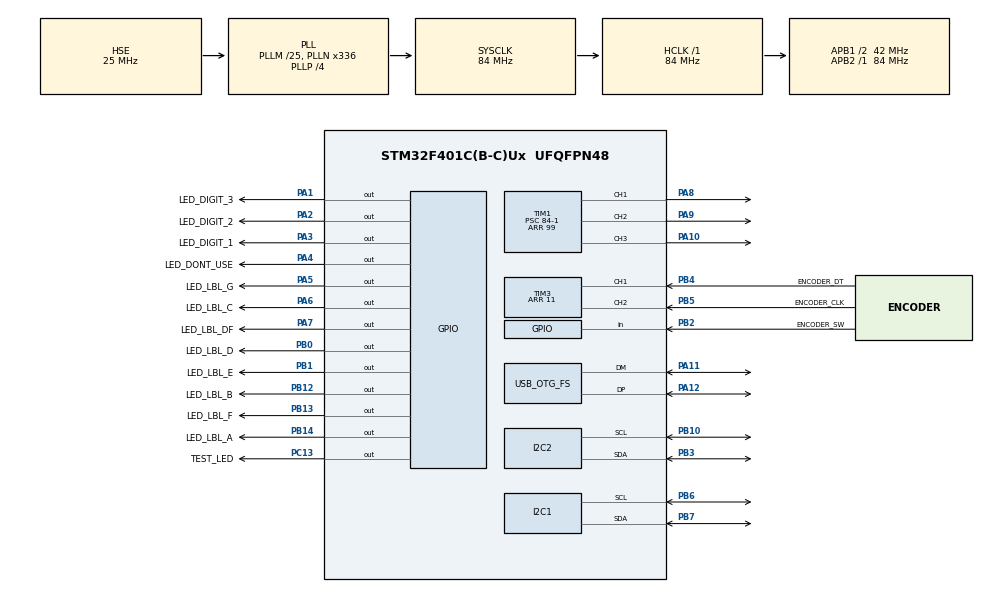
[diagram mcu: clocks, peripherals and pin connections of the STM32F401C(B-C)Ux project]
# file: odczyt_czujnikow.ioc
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I2C2.I2C_Mode=I2C_Fast
Mcu.Family=STM32F4
Mcu.Name=STM32F401C(B-C)Ux
Mcu.Package=UFQFPN48
NVIC.OTG_FS_IRQn=true\:0\:0\:false\:false\:true\:false\:true\:true
NVIC.PriorityGroup=NVIC_PRIORITYGROUP_4
PA1.GPIO_Label=LED_DIGIT_3
PA1.GPIO_PuPd=GPIO_PULLDOWN
PA1.GPIO_Speed=GPIO_SPEED_FREQ_VERY_HIGH
PA1.Signal=GPIO_Output
PA10.Signal=S_TIM1_CH3
PA11.Mode=Device_Only
PA11.Signal=USB_OTG_FS_DM
PA12.Mode=Device_Only
PA12.Signal=USB_OTG_FS_DP
PA13.Signal=SYS_JTMS-SWDIO
PA14.Signal=SYS_JTCK-SWCLK
PA2.GPIO_Label=LED_DIGIT_2
PA2.GPIO_PuPd=GPIO_PULLDOWN
PA2.GPIO_Speed=GPIO_SPEED_FREQ_VERY_HIGH
PA2.Signal=GPIO_Output
PA3.GPIO_Label=LED_DIGIT_1
PA3.GPIO_PuPd=GPIO_PULLDOWN
PA3.GPIO_Speed=GPIO_SPEED_FREQ_VERY_HIGH
PA3.Signal=GPIO_Output
PA4.GPIO_Label=LED_DONT_USE
PA4.Signal=GPIO_Output
PA5.GPIO_Label=LED_LBL_G
PA5.GPIO_Speed=GPIO_SPEED_FREQ_VERY_HIGH
PA5.Signal=GPIO_Output
PA6.GPIO_Label=LED_LBL_C
PA6.GPIO_Speed=GPIO_SPEED_FREQ_VERY_HIGH
PA6.Signal=GPIO_Output
PA7.GPIO_Label=LED_LBL_DF
PA7.GPIO_Speed=GPIO_SPEED_FREQ_VERY_HIGH
PA7.Signal=GPIO_Output
PA8.Signal=S_TIM1_CH1
PA9.Signal=S_TIM1_CH2
PB0.GPIO_Label=LED_LBL_D
PB0.GPIO_Speed=GPIO_SPEED_FREQ_VERY_HIGH
PB0.Signal=GPIO_Output
PB1.GPIO_Label=LED_LBL_E
PB1.GPIO_Speed=GPIO_SPEED_FREQ_VERY_HIGH
PB1.Signal=GPIO_Output
PB10.Mode=I2C
PB10.Signal=I2C2_SCL
PB12.GPIO_Label=LED_LBL_B
PB12.GPIO_Speed=GPIO_SPEED_FREQ_VERY_HIGH
PB12.Signal=GPIO_Output
PB13.GPIO_Label=LED_LBL_F
PB13.GPIO_Speed=GPIO_SPEED_FREQ_VERY_HIGH
PB13.Signal=GPIO_Output
PB14.GPIO_Label=LED_LBL_A
PB14.GPIO_Speed=GPIO_SPEED_FREQ_VERY_HIGH
PB14.Signal=GPIO_Output
PB2.GPIO_Label=ENCODER_SW
PB2.Signal=GPIO_Input
PB3.Mode=I2C
PB3.Signal=I2C2_SDA
PB4.GPIO_Label=ENCODER_DT
PB4.GPIO_ModeDefaultPP=GPIO_MODE_AF_PP
PB4.Signal=S_TIM3_CH1
PB5.GPIO_Label=ENCODER_CLK
PB5.Signal=S_TIM3_CH2
PB6.Mode=I2C
PB6.Signal=I2C1_SCL
PB7.Mode=I2C
PB7.Signal=I2C1_SDA
PC13-ANTI_TAMP.GPIO_Label=TEST_LED
PC13-ANTI_TAMP.Signal=GPIO_Output
PC14-OSC32_IN.Mode=LSE-External-Oscillator
PC14-OSC32_IN.Signal=RCC_OSC32_IN
PC15-OSC32_OUT.Mode=LSE-External-Oscillator
PC15-OSC32_OUT.Signal=RCC_OSC32_OUT
PH0\ -\ OSC_IN.Mode=HSE-External-Oscillator
PH0\ -\ OSC_IN.Signal=RCC_OSC_IN
PH1\ -\ OSC_OUT.Mode=HSE-External-Oscillator
PH1\ -\ OSC_OUT.Signal=RCC_OSC_OUT
ProjectManager.HeapSize=0x200
ProjectManager.StackSize=0x400
ProjectManager.TargetToolchain=STM32CubeIDE
RCC.48MHZClocksFreq_Value=48000000
RCC.AHBFreq_Value=84000000
RCC.APB1CLKDivider=RCC_HCLK_DIV2
RCC.APB1Freq_Value=42000000
RCC.APB1TimFreq_Value=84000000
RCC.APB2Freq_Value=84000000
RCC.APB2TimFreq_Value=84000000
RCC.CortexFreq_Value=84000000
RCC.HCLKFreq_Value=84000000
RCC.HSE_VALUE=25000000
RCC.HSI_VALUE=16000000
RCC.PLLM=25
RCC.PLLN=336
RCC.PLLP=RCC_PLLP_DIV4
RCC.PLLQ=7
RCC.RCC_RTC_Clock_SourceVirtual=RCC_RTCCLKSOURCE_LSE
RCC.SYSCLKFreq_VALUE=84000000
RCC.SYSCLKSource=RCC_SYSCLKSOURCE_PLLCLK
RCC.VCOOutputFreq_Value=336000000
SH.S_TIM1_CH1.0=TIM1_CH1,PWM Generation1 CH1
SH.S_TIM1_CH2.0=TIM1_CH2,PWM Generation2 CH2
SH.S_TIM1_CH3.0=TIM1_CH3,PWM Generation3 CH3
SH.S_TIM3_CH1.0=TIM3_CH1,Encoder_Interface
SH.S_TIM3_CH2.0=TIM3_CH2,Encoder_Interface
TIM1.Channel-PWM\ Generation1\ CH1=TIM_CHANNEL_1
TIM1.Channel-PWM\ Generation2\ CH2=TIM_CHANNEL_2
TIM1.Channel-PWM\ Generation3\ CH3=TIM_CHANNEL_3
TIM1.Period=99
TIM1.Prescaler=84-1
TIM3.EncoderMode=TIM_ENCODERMODE_TI12
TIM3.IC1Filter=14
TIM3.IC1Polarity=TIM_ICPOLARITY_RISING
TIM3.IC2Filter=14
TIM3.IC2Polarity=TIM_ICPOLARITY_RISING
TIM3.Period=11
USB_DEVICE.CLASS_NAME_FS=CDC
USB_DEVICE.VirtualMode=Cdc
USB_DEVICE.VirtualModeFS=Cdc_FS
USB_OTG_FS.VirtualMode=Device_Only
VP_RTC_VS_RTC_Activate.Mode=RTC_Enabled
VP_TIM1_VS_ClockSourceINT.Mode=Internal
VP_USB_DEVICE_VS_USB_DEVICE_CDC_FS.Mode=CDC_FS
board=custom

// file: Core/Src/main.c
/* USER CODE BEGIN Header */
/**
  ******************************************************************************
  * @file           : main.c
  * @brief          : Main program body
  ******************************************************************************
  * @attention
  *
  * Copyright (c) 2025 STMicroelectronics.
  * All rights reserved.
  *
  * This software is licensed under terms that can be found in the LICENSE file
  * in the root directory of this software component.
  * If no LICENSE file comes with this software, it is provided AS-IS.
  *
  ******************************************************************************
  */
/* USER CODE END Header */
#include "main.h"
#include "i2c.h"
#include "rtc.h"
#include "tim.h"
#include "usb_device.h"
#include "gpio.h"

/* USER CODE BEGIN Includes */
#include "usbd_cdc_if.h"

#include "mpu6050.h"
#include "digit_display.h"
/* USER CODE END Includes */

/* USER CODE BEGIN PD */
#define USB_BLOCK_SIZE 0x200	//512 bytes

/* USER CODE END PD */

/* USER CODE BEGIN PV */
MPU6050_t MPU6050;

volatile int32_t encoderCount = 0; //

/* USER CODE END PV */

void SystemClock_Config(void);

/* USER CODE BEGIN 0 */

// _write override for the printf funct
int _write(int file, char *ptr, int len) {
    CDC_Transmit_FS((uint8_t*) ptr, len);
    return len;
}

/* USER CODE END 0 */

int main(void)
{

  /* USER CODE BEGIN 1 */
	printf("HELLO WORLD!");

  /* USER CODE END 1 */

  /* MCU Configuration--------------------------------------------------------*/

  /* Reset of all peripherals, Initializes the Flash interface and the Systick. */
  HAL_Init();

  /* Configure the system clock */
  SystemClock_Config();

  /* Initialize all configured peripherals */
  MX_GPIO_Init();
  MX_I2C1_Init();
  MX_I2C2_Init();
  MX_RTC_Init();
  MX_TIM1_Init();
  MX_USB_DEVICE_Init();
  MX_TIM3_Init();
  /* USER CODE BEGIN 2 */

  while (MPU6050_Init(&hi2c2) == 1) {
	  printf("MPU Initialization\r\n");
	  print_digits(000);
	  HAL_Delay(10);
  }

  HAL_TIM_Encoder_Start(&htim3, TIM_CHANNEL_ALL);

  HAL_TIM_PWM_Start(&htim1, TIM_CHANNEL_1);
  HAL_TIM_PWM_Start(&htim1, TIM_CHANNEL_2);
  HAL_TIM_PWM_Start(&htim1, TIM_CHANNEL_3);

  uint8_t pwm_max = htim1.Instance->ARR;

  __HAL_TIM_SET_COMPARE(&htim1, TIM_CHANNEL_1, 0);
  __HAL_TIM_SET_COMPARE(&htim1, TIM_CHANNEL_2, 0);
  __HAL_TIM_SET_COMPARE(&htim1, TIM_CHANNEL_3, 0);
  /* USER CODE END 2 */

  /* Infinite loop */
  /* USER CODE BEGIN WHILE */

  uint8_t mode = 0;
  int16_t val_to_print = 0;
  while (1)
  {
    /* USER CODE END WHILE */

    /* USER CODE BEGIN 3 */

	  encoderCount = __HAL_TIM_GET_COUNTER(&htim3);
	  mode = encoderCount / 4;

	  MPU6050_Read_All(&hi2c2, &MPU6050);

	  switch (mode) {
	  case 0:
		  __HAL_TIM_SET_COMPARE(&htim1, TIM_CHANNEL_1, pwm_max);
		  __HAL_TIM_SET_COMPARE(&htim1, TIM_CHANNEL_2, 0);
		  __HAL_TIM_SET_COMPARE(&htim1, TIM_CHANNEL_3, 0);

		  val_to_print = (int16_t) MPU6050.KalmanAngleX;
		  break;
	  case 1:
		  __HAL_TIM_SET_COMPARE(&htim1, TIM_CHANNEL_1, 0);
		  __HAL_TIM_SET_COMPARE(&htim1, TIM_CHANNEL_2, pwm_max);
		  __HAL_TIM_SET_COMPARE(&htim1, TIM_CHANNEL_3, 0);
		  val_to_print = (int16_t) MPU6050.KalmanAngleY;
		  break;
	  case 2:
		  __HAL_TIM_SET_COMPARE(&htim1, TIM_CHANNEL_1, 0);
		  __HAL_TIM_SET_COMPARE(&htim1, TIM_CHANNEL_2, 0);
		  __HAL_TIM_SET_COMPARE(&htim1, TIM_CHANNEL_3, pwm_max);

		  val_to_print = (int16_t) MPU6050.Temperature;
		  break;

	  default:
		  __HAL_TIM_SET_COMPARE(&htim1, TIM_CHANNEL_1, 0);
		  __HAL_TIM_SET_COMPARE(&htim1, TIM_CHANNEL_2, 0);
		  __HAL_TIM_SET_COMPARE(&htim1, TIM_CHANNEL_3, 0);
		  break;
	  }

	  print_digits(val_to_print);

	  printf("ax:%f\t ay:%f\t az:%f\t gx:%f\t gy:%f\t gz:%f\t kx:%f\t ky:%f\t t:%f\t  \r\n", MPU6050.Ax,MPU6050.Ay,MPU6050.Az,MPU6050.Gx,MPU6050.Gy,MPU6050.Gz,MPU6050.KalmanAngleX,MPU6050.KalmanAngleY,MPU6050.Temperature);

	  HAL_Delay(10);
  }
  /* USER CODE END 3 */
}

void SystemClock_Config(void)
{
  RCC_OscInitTypeDef RCC_OscInitStruct = {0};
  RCC_ClkInitTypeDef RCC_ClkInitStruct = {0};

  /** Configure the main internal regulator output voltage
  */
  __HAL_RCC_PWR_CLK_ENABLE();
  __HAL_PWR_VOLTAGESCALING_CONFIG(PWR_REGULATOR_VOLTAGE_SCALE2);

  /** Initializes the RCC Oscillators according to the specified parameters
  * in the RCC_OscInitTypeDef structure.
  */
  RCC_OscInitStruct.OscillatorType = RCC_OSCILLATORTYPE_HSE|RCC_OSCILLATORTYPE_LSE;
  RCC_OscInitStruct.HSEState = RCC_HSE_ON;
  RCC_OscInitStruct.LSEState = RCC_LSE_ON;
  RCC_OscInitStruct.PLL.PLLState = RCC_PLL_ON;
  RCC_OscInitStruct.PLL.PLLSource = RCC_PLLSOURCE_HSE;
  RCC_OscInitStruct.PLL.PLLM = 25;
  RCC_OscInitStruct.PLL.PLLN = 336;
  RCC_OscInitStruct.PLL.PLLP = RCC_PLLP_DIV4;
  RCC_OscInitStruct.PLL.PLLQ = 7;
  if (HAL_RCC_OscConfig(&RCC_OscInitStruct) != HAL_OK)
  {
    Error_Handler();
  }

  /** Initializes the CPU, AHB and APB buses clocks
  */
  RCC_ClkInitStruct.ClockType = RCC_CLOCKTYPE_HCLK|RCC_CLOCKTYPE_SYSCLK
                              |RCC_CLOCKTYPE_PCLK1|RCC_CLOCKTYPE_PCLK2;
  RCC_ClkInitStruct.SYSCLKSource = RCC_SYSCLKSOURCE_PLLCLK;
  RCC_ClkInitStruct.AHBCLKDivider = RCC_SYSCLK_DIV1;
  RCC_ClkInitStruct.APB1CLKDivider = RCC_HCLK_DIV2;
  RCC_ClkInitStruct.APB2CLKDivider = RCC_HCLK_DIV1;

  if (HAL_RCC_ClockConfig(&RCC_ClkInitStruct, FLASH_LATENCY_2) != HAL_OK)
  {
    Error_Handler();
  }
}

void Error_Handler(void)
{
  __disable_irq();
  while (1)
  {
  }
}
